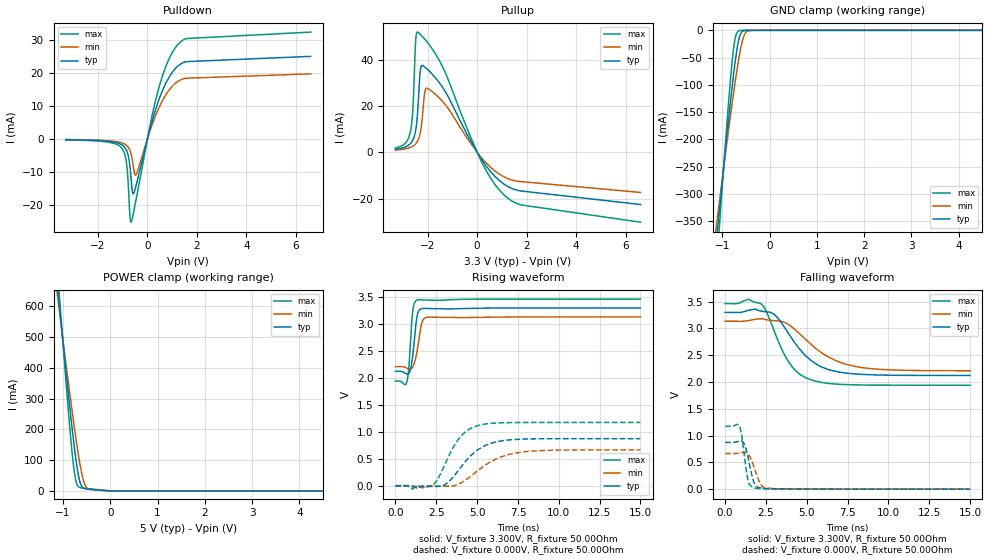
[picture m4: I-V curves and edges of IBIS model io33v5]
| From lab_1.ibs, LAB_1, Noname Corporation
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[Model]   io33v5
Model_type   I/O
Vinl = 800.000mV
Vinh = 2.000V
Vmeas = 1.400V
Vref = 1.400V
Cref = 5.000pF
Rref = 100.000Ohm
|   typ   min   max
C_comp   4.550pF   2.600pF   6.500pF
[Voltage Range]   3.300V   3.135V   3.465V
[Power Clamp Reference]   5.000V   4.750V   5.250V
[Temperature Range]   50.0   100.0   0.0
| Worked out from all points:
|   slope of the pulldown table from 0 to 0.495 V, typ, clamps not added: 39.6 ohm
|   slope of the pullup table from 0 to 0.495 V, typ, clamps not added: 64.4 ohm
|   GND clamp passes 1 mA (typ) near -0.56 V on its own axis
|   falling waveform, V_fixture 3.300V, R_fixture 50.00Ohm: 20-80 % time 1.92ns typ, 2.43ns min, 1.47ns max; typ from 3.3 V to 2.12 V
|   rising waveform, V_fixture 3.300V, R_fixture 50.00Ohm: 20-80 % time 247ps typ, 305ps min, 198ps max; typ from 2.12 V to 3.3 V
|   rising waveform, V_fixture 0.000V, R_fixture 50.00Ohm: 20-80 % time 1.64ns typ, 2.03ns min, 1.3ns max; typ from 0 V to 0.874 V
|   falling waveform, V_fixture 0.000V, R_fixture 50.00Ohm: 20-80 % time 392ps typ, 479ps min, 315ps max; typ from 0.874 V to 0 V
[Pulldown]
|   Voltage   I(typ)   I(min)   I(max)
-3.3V     -256.4uA   -208.9uA   -311.8uA
-1.04V    -1.786mA   -1.195mA   -2.784mA
-840mV    -3.589mA   -2.018mA   -7.696mA
-785mV    -4.824mA   -2.467mA   -12.52mA
-710mV    -8.173mA   -3.47mA    -23.22mA
-665mV    -11.73mA   -4.471mA   -25.24mA
-590mV    -16.53mA   -7.344mA   -23.33mA
-465mV    -14.31mA   -10.91mA   -18.6mA
415mV     10.84mA    8.569mA    14.2mA
845mV     18.27mA    14.46mA    23.76mA
1.22V     21.96mA    17.35mA    28.49mA
6.6V      24.96mA    19.66mA    32.31mA
[GND Clamp]
|   Voltage   I(typ)   I(min)   I(max)
-5V       -4.027A    -3.185A    -5.543A
-1.13V    -390.7mA   -361.3mA   -444.8mA
-1.1V     -363.9mA   -340.4mA   -407.5mA
-1.06V    -328.4mA   -312.7mA   -358mA
-885mV    -177.6mA   -194mA     -151.1mA
-785mV    -97.87mA   -129.4mA   -51.4mA
-720mV    -52.41mA   -89.83mA   -11.62mA
-640mV    -13.05mA   -46.25mA   -567uA
-575mV    -1.922mA   -19.09mA   -34.88uA
-520mV    -281.7uA   -5.974mA   -3.374uA
-345mV    -531nA     -33.09uA   -2.101nA
10V       27.06pA    -42.51pA   28.04pA
[Pullup]
|   Voltage   I(typ)   I(min)   I(max)
-3.3V     1.282mA    933.5uA    1.818mA
-2.685V   3.844mA    2.141mA    9.419mA
-2.59V    5.414mA    2.655mA    19.71mA
-2.48V    9.637mA    3.641mA    48.49mA
-2.4V     17.89mA    4.914mA    51.84mA
-2.285V   36.03mA    9.025mA    50.77mA
-2.13V    36.91mA    24.78mA    48.95mA
-2.03V    35.97mA    27.68mA    47.67mA
-1.345V   27.18mA    21.29mA    35.73mA
190mV     -3.263mA   -2.542mA   -4.343mA
1.17V     -14.33mA   -11.03mA   -19.21mA
6.6V      -22.55mA   -17.35mA   -30.18mA
[POWER Clamp]
|   Voltage   I(typ)   I(min)   I(max)
-5V       7.049A     5.735A     9.242A
-1.115V   662.6mA    633mA      714.6mA
-1.085V   615.9mA    595.5mA    652.6mA
-1.06V    577.2mA    564.4mA    601.3mA
-890mV    320.8mA    357mA      266.3mA
-785mV    174.6mA    234.9mA    92.52mA
-715mV    90.33mA    158.6mA    25.97mA
-630mV    23.83mA    77.41mA    10.56mA
-555mV    8.327mA    27.49mA    8.798mA
-490mV    6.13mA     9.246mA    7.697mA
0V        0A         0A         0A
10V       0A         0A         0A
[Ramp]
R_load = 50.00Ohm
|   typ   min   max
dV/dt_r   524.320mV/1.639ns   399.433mV/2.024ns   704.857mV/1.295ns
dV/dt_f   706.191mV/1.919ns   555.207mV/2.425ns   914.908mV/1.471ns
[Falling Waveform]
V_fixture = 3.300V
V_fixture_min = 3.135V
V_fixture_max = 3.465V
R_fixture = 50.00Ohm
|   Time   V(typ)   V(min)   V(max)
0s        3.3V       3.135V     3.465V
1.45ns    3.34V      3.148V     3.549V
2.225ns   3.323V     3.181V     3.453V
2.975ns   3.269V     3.145V     2.977V
3.9ns     2.898V     3.07V      2.371V
4.5ns     2.639V     2.919V     2.163V
5.275ns   2.399V     2.699V     2.04V
6.525ns   2.215V     2.435V     1.968V
8.1ns     2.148V     2.283V     1.946V
15ns      2.123V     2.21V      1.94V
[Rising Waveform]
V_fixture = 3.300V
V_fixture_min = 3.135V
V_fixture_max = 3.465V
R_fixture = 50.00Ohm
|   Time   V(typ)   V(min)   V(max)
0s        2.123V     2.21V      1.94V
700ps     2.071V     2.184V     1.931V
825ps     2.086V     2.169V     2.225V
950ps     2.198V     2.169V     2.808V
1.05ns    2.394V     2.198V     3.227V
1.15ns    2.675V     2.268V     3.379V
1.325ns   3.151V     2.502V     3.446V
1.625ns   3.289V     3.033V     3.45V
1.925ns   3.291V     3.126V     3.447V
15ns      3.3V       3.135V     3.465V
[Rising Waveform]
V_fixture = 0.000V
V_fixture_min = 0.000V
V_fixture_max = 0.000V
R_fixture = 50.00Ohm
|   Time   V(typ)   V(min)   V(max)
0s        210.3nV    222.8nV    217.9nV
1.05ns    -15.36mV   -3.806mV   -63.71mV
2.275ns   -12.4mV    -6.124mV   6.545mV
3.025ns   20.3mV     -9.96mV    394.3mV
3.875ns   293.5mV    30.42mV    868.7mV
4.425ns   497.6mV    133.5mV    1.03V
5.125ns   683.8mV    299.9mV    1.123V
6.3ns     822.7mV    514.8mV    1.166V
7.65ns    863.5mV    620.7mV    1.174V
15ns      873.9mV    665.7mV    1.175V
[Falling Waveform]
V_fixture = 0.000V
V_fixture_min = 0.000V
V_fixture_max = 0.000V
R_fixture = 50.00Ohm
|   Time   V(typ)   V(min)   V(max)
0s        873.9mV    665.7mV    1.175V
875ps     897.8mV    673mV      1.175V
1ns       899.8mV    680mV      1.028V
1.175ns   841.3mV    687.3mV    638.5mV
1.425ns   560.1mV    648.5mV    143.9mV
1.675ns   217.1mV    493.7mV    40.83mV
1.85ns    71.8mV     336.7mV    21.34mV
2.275ns   18.49mV    52.78mV    10.99mV
2.9ns     8.506mV    11.35mV    5.477mV
15ns      210.3nV    222.8nV    217.9nV
